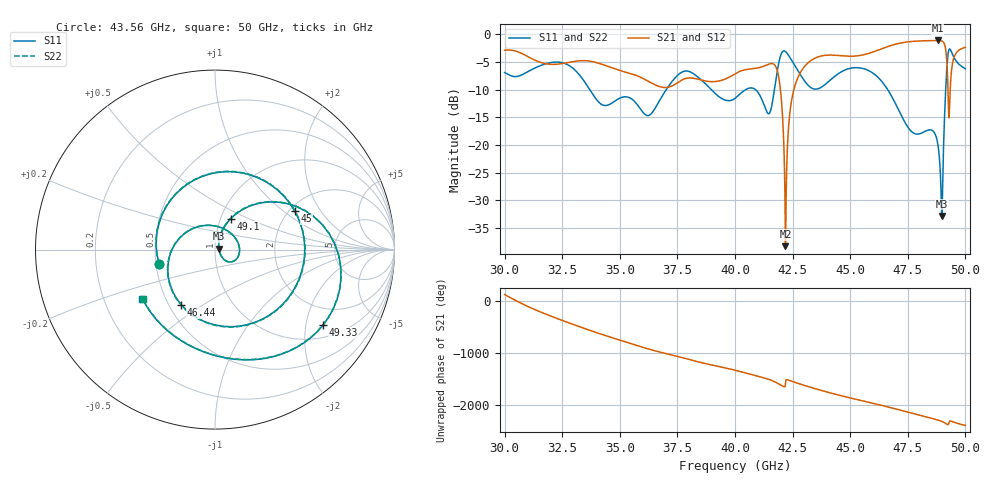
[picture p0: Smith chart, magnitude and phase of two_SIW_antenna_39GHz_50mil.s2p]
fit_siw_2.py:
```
# -*- coding: utf-8 -*-
"""
Created on Thu Oct 26 23:57:57 2017

@author: kirknie
"""

import numpy as np
import matplotlib.pyplot as plt
import snp_fct
import sys
sys.path.append('../')
import vector_fitting
import matrix_fitting
import fit_z
import fit_s
import bound_fct


if __name__ == '__main__':
    #s2p_file = 'two_coupled_SIW_ant_39GHz.s2p'
    s2p_file = 'two_SIW_antenna_39GHz_50mil.s2p'
    freq, n, z, s, z0 = snp_fct.read_snp(s2p_file)
    s_50 = np.zeros(z.shape, dtype=z.dtype)
    cs = freq*2j*np.pi
    z0 = 50
    z0 = 190
    for i in range(len(freq)):
        s_50[:, :, i] = np.matrix(z[:, :, i]/z0-np.identity(n)) * np.linalg.inv(np.matrix(z[:, :, i]/z0+np.identity(n)))

#    start = 500
#    stop = 1501
#    freq = freq[start:stop]
#    cs = cs[start:stop]
#    s_50 = s_50[:, :, start:stop]
    
#    # Try matrix_fitting first
#    poles, residues, d, h = matrix_fitting.matrix_fitting(s_50, cs, n_poles=38, n_iters=20, has_h=0)
#    s_matrix_fit = matrix_fitting.matrix_model(cs, poles, residues, d, h)
#    
#    plt.figure()
#    plt.plot(freq, 20*np.log10(np.abs(s_50[0, 0, :])), 'b-')
#    plt.plot(freq, 20*np.log10(np.abs(s_matrix_fit[0, 0, :])), 'r--')
#    plt.plot(freq, 20*np.log10(np.abs(s_50[0, 0, :]-s_matrix_fit[0, 0, :])), 'k--')
#    plt.xlabel('Frequency (Hz)')
#    plt.ylabel('Amplitude (dB)')
#    plt.figure()
#    plt.plot(freq, 20*np.log10(np.abs(s_50[1, 0, :])), 'b-')
#    plt.plot(freq, 20*np.log10(np.abs(s_matrix_fit[1, 0, :])), 'r--')
#    plt.plot(freq, 20*np.log10(np.abs(s_50[1, 0, :]-s_matrix_fit[1, 0, :])), 'k--')
#    plt.xlabel('Frequency (Hz)')
#    plt.ylabel('Amplitude (dB)')
    
    # Fit even and odd mode separately
    s_even = ((s_50[0, 0, :] + s_50[0, 1, :] + s_50[1, 0, :] + s_50[1, 1, :])/2).reshape(len(freq))
    s_odd = ((s_50[0, 0, :] - s_50[0, 1, :] - s_50[1, 0, :] + s_50[1, 1, :])/2).reshape(len(freq))
    cs_all = np.logspace(10, 12, 1e5)*1j
    
    # Even mode
    poles_even, residues_even, d_even, h_even = fit_s.fit_s(s_even, cs, n_poles=19, n_iters=20, s_inf=1, bound_wt=1e-11)
    s_even_fit = vector_fitting.model(cs, poles_even, residues_even, d_even, h_even)
    
    plt.figure()
    plt.plot(freq, 20*np.log10(np.abs(s_even)), 'b-')
    plt.plot(freq, 20*np.log10(np.abs(s_even_fit)), 'r--')
    plt.plot(freq, 20*np.log10(np.abs(s_even-s_even_fit)), 'k--')
    plt.xlabel('Frequency (Hz)')
    plt.ylabel('Amplitude (dB)')
    
    bound_even, bw_even = bound_fct.bound_s(poles_even, residues_even, d_even, np.inf)
    print('Bound even is {:.5e}'.format(bound_even))
    print('BW even is {:.5e}'.format(bw_even))
    
    bound_error_even = bound_fct.bound_error_s(s_even, cs, poles_even, residues_even, d_even, np.inf)
    print('Bound error is {:.5e}'.format(bound_error_even))
    integral_even = bound_fct.bound_integral(cs.imag, np.abs(s_even), np.inf)
    print('The inegral of the odd is {:.5e}'.format(integral_even))
    
    bound_fct.plot_improved_bound(poles_even, residues_even, d_even, 2e10, 4e11)
    
    # Odd mode
    poles_odd, residues_odd, d_odd, h_odd = fit_s.fit_s(s_odd, cs, n_poles=17, n_iters=20, s_inf=1, pole_wt=0, bound_wt=5e-12)  # pole_wt=5e-13
    s_odd_fit = vector_fitting.model(cs, poles_odd, residues_odd, d_odd, h_odd)
    
    plt.figure()
    plt.plot(freq, 20*np.log10(np.abs(s_odd)), 'b-')
    plt.plot(freq, 20*np.log10(np.abs(s_odd_fit)), 'r--')
    plt.plot(freq, 20*np.log10(np.abs(s_odd-s_odd_fit)), 'k--')
    plt.xlabel('Frequency (Hz)')
    plt.ylabel('Amplitude (dB)')
    
    bound_odd, bw_odd = bound_fct.bound_s(poles_odd, residues_odd, d_odd, np.inf)
    print('Bound odd is {:.5e}'.format(bound_odd))
    print('BW odd is {:.5e}'.format(bw_odd))
    
    bound_error_odd = bound_fct.bound_error_s(s_odd, cs, poles_odd, residues_odd, d_odd, np.inf)
    print('Bound error is {:.5e}'.format(bound_error_odd))
    integral_odd = bound_fct.bound_integral(cs.imag, np.abs(s_odd), np.inf)
    print('The inegral of the odd is {:.5e}'.format(integral_odd))
    
    bound_fct.plot_improved_bound(poles_odd, residues_odd, d_odd, 2e10, 6e11)
    
    # Overall passivity
    s_even_fit_all = vector_fitting.model(cs_all, poles_even, residues_even, d_even, h_even)
    s_odd_fit_all = vector_fitting.model(cs_all, poles_odd, residues_odd, d_odd, h_odd)
    plt.figure()
    plt.plot(abs(cs_all)/2/np.pi, 20*np.log10(np.abs(s_even_fit_all)), 'r--')
    plt.plot(abs(cs_all)/2/np.pi, 20*np.log10(np.abs(s_odd_fit_all)), 'b--')
    plt.xlabel('Frequency (Hz)')
    plt.ylabel('Amplitude (dB)')
    
    print('check s for even', max(np.abs(s_even_fit_all)))
    print('check s for odd', max(np.abs(s_odd_fit_all)))
    
#    # Fit z then convert to s
#    z_even = ((z[0, 0, :] + z[0, 1, :] + z[1, 0, :] + z[1, 1, :])/2).reshape(len(freq))
#    z_odd = ((z[0, 0, :] - z[0, 1, :] - z[1, 0, :] + z[1, 1, :])/2).reshape(len(freq))
#    cs_all = np.logspace(10, 12, 1e6)*1j
#    
#    # Even mode
#    poles_even, residues_even, d_even, h_even = fit_z.fit_z(z_even, cs, n_poles=24, n_iters=20, has_d=0, has_h=0)
#    z_even_fit = vector_fitting.model(cs, poles_even, residues_even, d_even, h_even)
#    
#    plt.figure()
#    plt.plot(freq, 20*np.log10(np.abs(z_even)), 'b-')
#    plt.plot(freq, 20*np.log10(np.abs(z_even_fit)), 'r--')
#    plt.plot(freq, 20*np.log10(np.abs(z_even-z_even_fit)), 'k--')
#    plt.xlabel('Frequency (Hz)')
#    plt.ylabel('Amplitude (dB)')
#    
#    # Odd mode
#    poles_odd, residues_odd, d_odd, h_odd = fit_z.fit_z(z_odd, cs, n_poles=22, n_iters=20, has_d=0, has_h=0)
#    z_odd_fit = vector_fitting.model(cs, poles_odd, residues_odd, d_odd, h_odd)
#    
#    plt.figure()
#    plt.plot(freq, 20*np.log10(np.abs(z_odd)), 'b-')
#    plt.plot(freq, 20*np.log10(np.abs(z_odd_fit)), 'r--')
#    plt.plot(freq, 20*np.log10(np.abs(z_odd-z_odd_fit)), 'k--')
#    plt.xlabel('Frequency (Hz)')
#    plt.ylabel('Amplitude (dB)')
#    
#    # Overall passivity
#    z_even_fit_all = vector_fitting.model(cs_all, poles_even, residues_even, d_even, h_even)
#    z_odd_fit_all = vector_fitting.model(cs_all, poles_odd, residues_odd, d_odd, h_odd)
#    plt.figure()
#    plt.plot(abs(cs_all)/2/np.pi, 20*np.log10(np.abs(z_even_fit_all.real)), 'r--')
#    plt.plot(abs(cs_all)/2/np.pi, 20*np.log10(np.abs(z_odd_fit_all.real)), 'b--')
#    plt.xlabel('Frequency (Hz)')
#    plt.ylabel('Amplitude (dB)')
```
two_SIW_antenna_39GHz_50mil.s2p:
! Touchstone file from project two_SIW_antenna_39GHz_50mil
! Exported from HFSS 2017.0.0
! Variables:
!  $D1 = 1.82692307692308mm
!  $Disk_shift = 0mm
!  $G1 = 0.243589743589744mm
!  $G2 = 0.608974358974359mm
!  $S0 = 50mil
!  $S1 = 0.243589743589744mm
!  $S2 = 4.87179487179487mm
!  $SL = 1.46153846153846mm
!  $SW = 0.584615384615385mm
!  $VL = 1.82692307692308mm
!  $VW = 0.618717948717949mm
!  $W = 3.02051282051282mm
!  $W1 = 3.02051282051282mm
!  $extension_from_slot = 4.87179487179487mm
!  $length = 21.9121153846154mm
!  $new_width = 9.68025641025641mm
!  $offset = 0.5mm
!  $patch_step = 3.34935897435897mm
!  $slot_center_to_short = 5.02403846153846mm
!  $slot_side = 0.730769230769231mm
!  $slot_step = 3.34935897435897mm
!  $substrate_edge = 2.23290598290598mm
!  $width = 6.04102564102564mm
!  brick_dist = 0.608974358974359mm
!  leak_gap = 5.5mm
!Data is not renormalized
# GHZ S MA
! Modal data exported
! Port[1] = 1:1
! Port[2] = 2:1
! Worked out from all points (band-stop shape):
!   2001 points, 30 GHz to 50 GHz, reference per port
!   highest |S21| = -1.12 dB at 48.79 GHz (marker M1); lowest = -38.2 dB at 42.19 GHz (marker M2)
!   |S21| within 3 dB of the highest: start of sweep to 31.05 GHz; 43.58 GHz to 49.18 GHz (5.596 GHz wide, 12.1 % of centre)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
!   lowest |S11| = -32.8 dB at 48.98 GHz (marker M3), VSWR 1.05
!   |S11| at or under -10 dB: 33.7 GHz to 37.01 GHz (3.319 GHz wide, 9.39 % of centre); 38.97 GHz to 40.46 GHz (1.488 GHz wide, 3.75 % of centre); 46.63 GHz to 49.14 GHz (2.516 GHz wide, 5.25 % of centre)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
!   |S22| runs from -33.4 to -2.7 dB; largest |S21 - S12| = 1.3e-14
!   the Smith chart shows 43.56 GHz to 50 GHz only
!   S11 on the Smith chart (normalised r, x): 43.56 GHz: 0.52, -0.09; 45 GHz: 2.13, +1.21; 46.44 GHz: 0.58, -0.41; 49.1 GHz: 1.12, +0.40; 49.33 GHz: 1.38, -2.51; 50 GHz: 0.37, -0.27
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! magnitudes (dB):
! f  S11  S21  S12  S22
! 30 GHz  -6.9  -2.9  -2.9  -6.9
! 40 GHz  -11.6  -7.2  -7.2  -11.5
! 42.19 GHz  -3.1  -38.2  -38.2  -3.1
! 43.56 GHz  -9.9  -4.2  -4.2  -9.9
! 45 GHz  -6.1  -4.0  -4.0  -6.1
! 46.44 GHz  -8.9  -2.5  -2.5  -8.8
! 48.79 GHz  -19.5  -1.1  -1.1  -19.6
! 48.98 GHz  -32.8  -1.2  -1.2  -33.4
! 49.1 GHz  -14.3  -1.9  -1.9  -14.3
! 49.33 GHz  -2.7  -11.0  -11.0  -2.7
! 50 GHz  -6.2  -2.4  -2.4  -6.3
